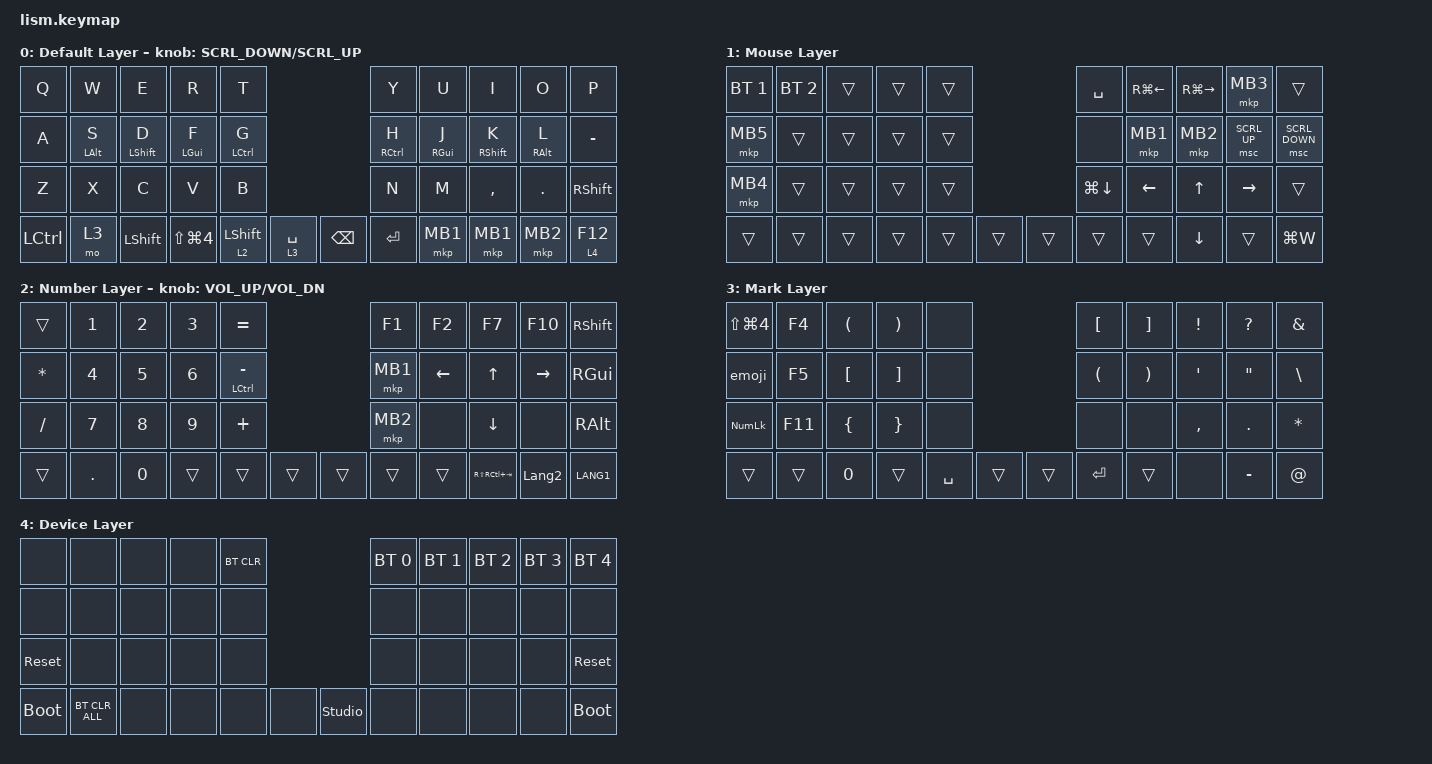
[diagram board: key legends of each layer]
#define ZMK_POINTING_DEFAULT_SCRL_VAL 200

#include <dt-bindings/zmk/mouse.h>
#include <behaviors.dtsi>
#include <dt-bindings/zmk/backlight.h>
#include <dt-bindings/zmk/bt.h>
#include <dt-bindings/zmk/keys.h>
#include <dt-bindings/zmk/pointing.h>

&mt {
    tapping-term-ms = <300>;
    flavor = "balanced";
};

&lt { quick-tap-ms = <300>; };

/ {
    macros {
        emoji: emoji_macro {
            compatible = "zmk,behavior-macro";
            label = "EMOJI";
            #binding-cells = <0>;
            bindings =
                <&macro_press>,
                <&kp CAPSLOCK>,
                <&macro_tap>,
                <&kp E>,
                <&macro_release>,
                <&kp CAPSLOCK>;
        };
    };

    behaviors {
        encoder_msc: sensor_rotate_msc {
            compatible = "zmk,behavior-sensor-rotate-var";
            #sensor-binding-cells = <2>;
            bindings = <&msc>, <&msc>;

            tap-ms = <20>;
        };

        encoder_kp: sensor_rotate_kp {
            compatible = "zmk,behavior-sensor-rotate-var";
            #sensor-binding-cells = <2>;
            bindings = <&kp>, <&kp>;
        };
    };

    keymap {
        compatible = "zmk,keymap";

        default_layer {
            display-name = "Default Layer";
            bindings = <
&kp Q      &kp W       &kp E         &kp R           &kp T                                       &kp Y        &kp U       &kp I         &kp O       &kp P
&kp A      &mt LALT S  &mt LSHIFT D  &mt LGUI F      &mt LCTRL G                                 &mt RCTRL H  &mt RGUI J  &mt RSHIFT K  &mt RALT L  &kp MINUS
&kp Z      &kp X       &kp C         &kp V           &kp B                                       &kp N        &kp M       &kp COMMA     &kp DOT     &kp RIGHT_SHIFT
&kp LCTRL  &mo 3       &kp LSHIFT    &kp LS(LG(N4))  &lt 2 LSHIFT  &lt 3 SPACE    &kp BACKSPACE  &kp ENTER    &mkp MB1    &mkp MB1      &mkp MB2    &lt 4 F12
            >;

            sensor-bindings = <&encoder_msc SCRL_DOWN SCRL_UP>;
        };

        layer_1 {
            display-name = "Mouse Layer";
            bindings = <
&bt BT_SEL 1  &bt BT_SEL 2  &trans  &trans  &trans                    &kp SPACE     &kp RG(LEFT)  &kp RG(RIGHT)  &mkp MB3      &trans
&mkp MB5      &trans        &trans  &trans  &trans                    &none         &mkp MB1      &mkp MB2       &msc SCRL_UP  &msc SCRL_DOWN
&mkp MB4      &trans        &trans  &trans  &trans                    &kp LG(DOWN)  &kp LEFT      &kp UP         &kp RIGHT     &trans
&trans        &trans        &trans  &trans  &trans  &trans    &trans  &trans        &trans        &kp DOWN       &trans        &kp LG(W)
            >;
        };

        layer_2 {
            display-name = "Number Layer";
            bindings = <
&trans        &kp NUMBER_1  &kp NUMBER_2  &kp NUMBER_3  &kp EQUAL                          &kp F1    &kp F2    &kp F7           &kp F10         &kp RSHIFT
&kp ASTERISK  &kp NUMBER_4  &kp NUMBER_5  &kp NUMBER_6  &mt LCTRL MINUS                    &mkp MB1  &kp LEFT  &kp UP           &kp RIGHT       &kp RGUI
&kp SLASH     &kp N7        &kp N8        &kp N9        &kp PLUS                           &mkp MB2  &none     &kp DOWN         &none           &kp RALT
&trans        &kp DOT       &kp NUMBER_0  &trans        &trans           &trans    &trans  &trans    &trans    &kp RS(RC(TAB))  &kp LANGUAGE_2  &kp LANG1
            >;

            sensor-bindings = <&encoder_kp C_VOL_UP C_VOL_DN>;
        };

        layer_3 {
            display-name = "Mark Layer";
            bindings = <
&kp LS(LG(N4))  &kp F4   &kp LEFT_PARENTHESIS  &kp RIGHT_PARENTHESIS  &none                        &kp LEFT_BRACKET      &kp RIGHT_BRACKET      &kp EXCLAMATION   &kp QUESTION       &kp AMPERSAND
&emoji          &kp F5   &kp LEFT_BRACKET      &kp RIGHT_BRACKET      &none                        &kp LEFT_PARENTHESIS  &kp RIGHT_PARENTHESIS  &kp SINGLE_QUOTE  &kp DOUBLE_QUOTES  &kp BACKSLASH
&kp KP_NUMLOCK  &kp F11  &kp LEFT_BRACE        &kp RIGHT_BRACE        &none                        &none                 &none                  &kp COMMA         &kp PERIOD         &kp ASTERISK
&trans          &trans   &kp NUMBER_0          &trans                 &kp SPACE  &trans    &trans  &kp ENTER             &trans                 &none             &kp MINUS          &kp AT_SIGN
            >;
        };

        layer_4 {
            display-name = "Device Layer";
            bindings = <
&none        &none           &none  &none  &bt BT_CLR                           &bt BT_SEL 0  &bt BT_SEL 1  &bt BT_SEL 2  &bt BT_SEL 3  &bt BT_SEL 4
&none        &none           &none  &none  &none                                &none         &none         &none         &none         &none
&sys_reset   &none           &none  &none  &none                                &none         &none         &none         &none         &sys_reset
&bootloader  &bt BT_CLR_ALL  &none  &none  &none       &none    &studio_unlock  &none         &none         &none         &none         &bootloader
            >;
        };

        layer_5 {
            status = "reserved";
            display-name = "Brank Layer";
            bindings = <
&bl BL_OFF  &trans  &trans  &trans  &trans                    &trans  &trans  &trans  &trans  &trans
&trans      &trans  &trans  &trans  &trans                    &trans  &trans  &trans  &trans  &trans
&trans      &trans  &trans  &trans  &trans                    &trans  &trans  &trans  &trans  &trans
&trans      &trans  &trans  &trans  &trans  &trans    &trans  &trans  &trans  &trans  &trans  &trans
            >;
        };

        layer_6 {
            status = "reserved";
            display-name = "Brank Layer";
            bindings = <
&trans  &trans  &trans  &trans  &trans                    &trans  &trans  &trans  &trans  &trans
&trans  &trans  &trans  &trans  &trans                    &trans  &trans  &trans  &trans  &trans
&trans  &trans  &trans  &trans  &trans                    &trans  &trans  &trans  &trans  &trans
&trans  &trans  &trans  &trans  &trans  &trans    &trans  &trans  &trans  &trans  &trans  &trans
            >;
        };

        layer_7 {
            status = "reserved";
            display-name = "Brank Layer";
            bindings = <
&trans  &trans  &trans  &trans  &trans                    &trans  &trans  &trans  &trans  &trans
&trans  &trans  &trans  &trans  &trans                    &trans  &trans  &trans  &trans  &trans
&trans  &trans  &trans  &trans  &trans                    &trans  &trans  &trans  &trans  &trans
&trans  &trans  &trans  &trans  &trans  &trans    &trans  &trans  &trans  &trans  &trans  &trans
            >;
        };
    };
};
